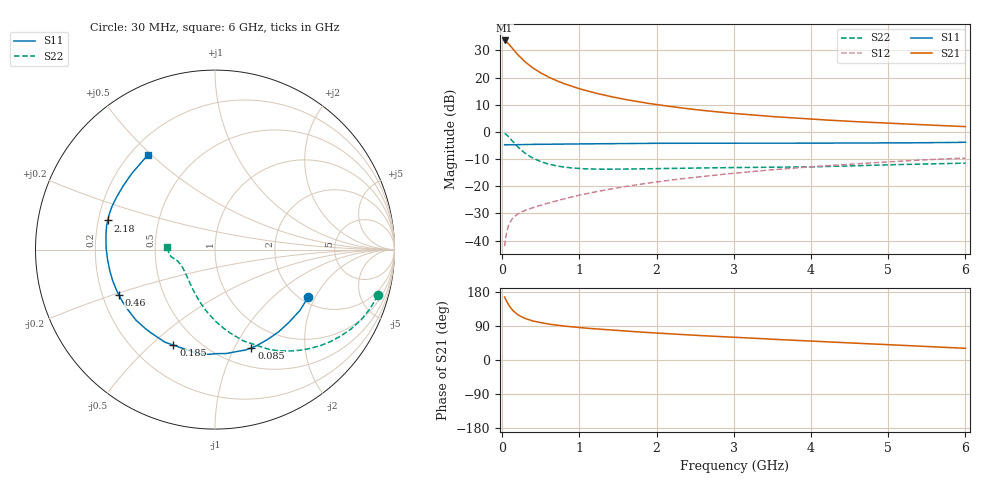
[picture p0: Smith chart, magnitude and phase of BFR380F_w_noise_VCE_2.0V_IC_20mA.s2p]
! Infineon Technologies  Discrete & RF Semiconductors
! BFR380F
! VCE =  2.0 V,  IC =  20 mA
! Common Emitter S-Parameters:  Nov 2015
# GHz  S  MA  R  50
!  f  S11  S21  S12  S22
! GHz  MAG  ANG  MAG  ANG  MAG  ANG  MAG  ANG
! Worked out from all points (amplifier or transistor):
!   206 points, 30 MHz to 6 GHz, reference 50 ohm
!   highest |S21| = 33.7 dB at 30 MHz (marker M1)
!   |S21| within 3 dB of that: start of sweep to 133.2 MHz
!   unconditionally stable (mu >= 1): 1.299 GHz to 5.21 GHz
!   at 200 MHz: K = 0.38, MSG = 29.3 dB, |S12| = -30.2 dB
!   at 1.56 GHz: K = 1.02, MAG = 15.3 dB, |S12| = -20.2 dB
!   at 6 GHz: K = 0.99, MSG = 5.8 dB, |S12| = -9.6 dB
!   lowest NFmin = 1.04 dB at 900 MHz
!   S11 on the Smith chart (normalised r, x): 30 MHz: 2.19, -1.76; 85 MHz: 0.71, -1.17; 185 MHz: 0.37, -0.59; 460 MHz: 0.27, -0.21; 2.18 GHz: 0.24, +0.13; 6 GHz: 0.27, +0.48
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0.03  0.5828 -27.0  48.38 166.1  0.0079 78.9  0.9434 -15.7
0.05  0.5778 -44.7  46.51 157.2  0.0126 72.7  0.9036 -25.6
0.07  0.5801 -59.6  43.65 149.6  0.0168 67.8  0.8501 -34.5
0.085  0.5834 -69.7  41.36 144.8  0.0195 64.2  0.8071 -40.6
0.11  0.5824 -83.9  37.56 137.4  0.023 59.4  0.7359 -49.6
0.135  0.5841 -95.8  34.01 131.4  0.0258 55.8  0.67 -57.2
0.15  0.5833 -102.1  32.08 128.1  0.0272 54.2  0.634 -61.4
0.185  0.5805 -113.5  28.12 122.6  0.0298 51.7  0.5608 -68.9
0.2  0.5864 -118.4  26.52 119.7  0.0309 50.7  0.5329 -72.7
0.24  0.585 -127.4  23.24 115.1  0.0332 49.5  0.4723 -79.7
0.3  0.5902 -138.2  19.31 109.2  0.0362 48.9  0.4026 -89.1
0.4  0.5914 -149.8  14.99 102.8  0.0406 50.0  0.3293 -101.0
0.46  0.5924 -154.7  13.2 99.9  0.0431 51.1  0.3002 -106.9
0.7  0.5974 -167.5  8.84 92.0  0.0539 55.8  0.238 -124.9
1.04  0.6027 -177.4  6.024 84.9  0.0705 60.6  0.2109 -140.7
1.4  0.6092 175.5  4.495 79.1  0.0889 63.3  0.2064 -150.9
2.02  0.6186 166.8  3.16 70.9  0.1215 64.9  0.2119 -159.0
2.18  0.6194 164.8  2.941 69.0  0.1299 65.0  0.2139 -160.2
3.1  0.6214 155.5  2.138 59.1  0.1792 63.9  0.2218 -164.4
4.1  0.6225 145.2  1.692 48.9  0.2337 60.6  0.2296 -166.3
5.1  0.6293 135.6  1.429 39.5  0.2868 56.4  0.2504 -172.1
6  0.6458 125.6  1.254 30.9  0.3316 51.5  0.2669 177.3
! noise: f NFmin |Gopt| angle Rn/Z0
0.45  1.07  0.2  173  0.08
0.9  1.04  0.26  171  0.07
1.8  1.27  0.36  -175  0.07
1.9  1.34  0.37  -176  0.07
2.4  1.43  0.39  -165  0.09
3.5  2.02  0.48  -153  0.13
